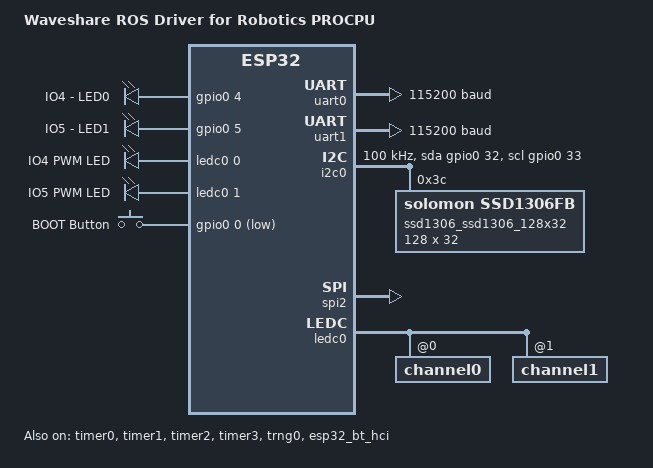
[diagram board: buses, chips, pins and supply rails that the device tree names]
/dts-v1/;

#include <espressif/esp32/esp32_wroom_32ue_n4.dtsi>
#include "ros_driver-pinctrl.dtsi"
// #include "grove_connectors.dtsi"
// #include "raspberrypi_40pins_connector.dtsi"
#include <zephyr/dt-bindings/input/input-event-codes.h>

/ {
	model = "Waveshare ROS Driver for Robotics PROCPU";
	compatible = "espressif,esp32";

	aliases {
		led0 = &io4_led;
		led1 = &io5_led;
		pwm-led0 = &pwm_led_io4;
		pwm-led1 = &pwm_led_io5;
		sw0 = &button0;
		uart-0 = &uart0;
		i2c-0 = &i2c0;
		watchdog0 = &wdt0;
	};

	chosen {
		zephyr,sram = &sram0;
		zephyr,console = &uart0;
		zephyr,shell-uart = &uart0;
		zephyr,flash = &flash0;
		zephyr,code-partition = &slot0_partition;
		zephyr,bt-hci = &esp32_bt_hci;
		zephyr,display = &ssd1306_ssd1306_128x32;
	};

	leds {
		compatible = "gpio-leds";

		io4_led: led_0 {
			gpios =  <&gpio0 4 GPIO_ACTIVE_HIGH>;
			label = "IO4 - LED0";
		};

		io5_led: led_1 {
			gpios =  <&gpio0 5 GPIO_ACTIVE_HIGH>;
			label = "IO5 - LED1";
		};
	};

	pwmleds {
		compatible = "pwm-leds";
		pwm_led_io4: pwm_led_0 {
			label = "IO4 PWM LED";
			pwms = <&ledc0 0 PWM_HZ(100) PWM_POLARITY_NORMAL>;
		};
		pwm_led_io5: pwm_led_1 {
			label = "IO5 PWM LED";
			pwms = <&ledc0 1 PWM_HZ(100) PWM_POLARITY_NORMAL>;
		};
	};

	buttons {
		compatible = "gpio-keys";
		button0: button_0 {
			gpios = <&gpio0 0 (GPIO_PULL_UP | GPIO_ACTIVE_LOW)>;
			label = "BOOT Button";
			zephyr,code = <INPUT_KEY_0>;
		};
	};
};

&uart0 {
	status = "okay";
	current-speed = <115200>;
	pinctrl-0 = <&uart0_default>;
	pinctrl-names = "default";
};

&uart1 {
	current-speed = <115200>;
	pinctrl-0 = <&uart1_default>;
	pinctrl-names = "default";
};

&gpio0 {
	status = "okay";
};

&gpio1 {
	status = "okay";
};

&i2c0 {
	status = "okay";
	clock-frequency = <I2C_BITRATE_STANDARD>;
	sda-gpios = <&gpio0 32 GPIO_OPEN_DRAIN>;
	scl-gpios = <&gpio0 33 GPIO_OPEN_DRAIN>;
	pinctrl-0 = <&i2c0_default>;
	pinctrl-names = "default";

	ssd1306_ssd1306_128x32: ssd1306@3c {
		compatible = "solomon,ssd1306fb";
		reg = <0x3c>;
		width = <128>;
		height = <32>;
		segment-offset = <0>;
		page-offset = <0>;
		display-offset = <0>;
		multiplex-ratio = <31>;
		segment-remap;
		com-invdir;
		com-sequential;
		prechargep = <0x22>;
	};
};

&spi2 {
	#address-cells = <1>;
	#size-cells = <0>;
	status = "okay";
	pinctrl-0 = <&spim2_default>;
	pinctrl-names = "default";
};


&ledc0 {
	pinctrl-0 = <&ledc0_default>;
	pinctrl-names = "default";
	status = "okay";
	#address-cells = <1>;
	#size-cells = <0>;
	channel0@0 {
		reg = <0x0>;
		timer = <0>;
	};
	channel1@1 {
		reg = <0x1>;
		timer = <1>;
	};
};

&timer0 {
	status = "okay";
};

&timer1 {
	status = "okay";
};

&timer2 {
	status = "okay";
};

&timer3 {
	status = "okay";
};

&trng0 {
	status = "okay";
};

&psram0 {
	status = "disabled";
};

&flash0 {
	status = "okay";
	partitions {
		compatible = "fixed-partitions";
		#address-cells = <1>;
		#size-cells = <1>;

		/* Reserve 60kB for the bootloader */
		boot_partition: partition@1000 {
			label = "mcuboot";
			reg = <0x00001000 DT_SIZE_K(60)>;
			read-only;
		};

		/* Reserve 1024kB for the application in slot 0 */
		slot0_partition: partition@10000 {
			label = "image-0";
			reg = <0x00010000 DT_SIZE_M(1)>;
		};

		/* Reserve 1024kB for the application in slot 1 */
		slot1_partition: partition@110000 {
			label = "image-1";
			reg = <0x00110000 DT_SIZE_M(1)>;
		};

		/* Reserve 256kB for the scratch partition */
		scratch_partition: partition@210000 {
			label = "image-scratch";
			reg = <0x00210000 DT_SIZE_K(256)>;
		};

		storage_partition: partition@250000 {
			label = "storage";
			reg = <0x00250000 DT_SIZE_K(24)>;
		};
	};
};

&esp32_bt_hci {
	status = "okay";
};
